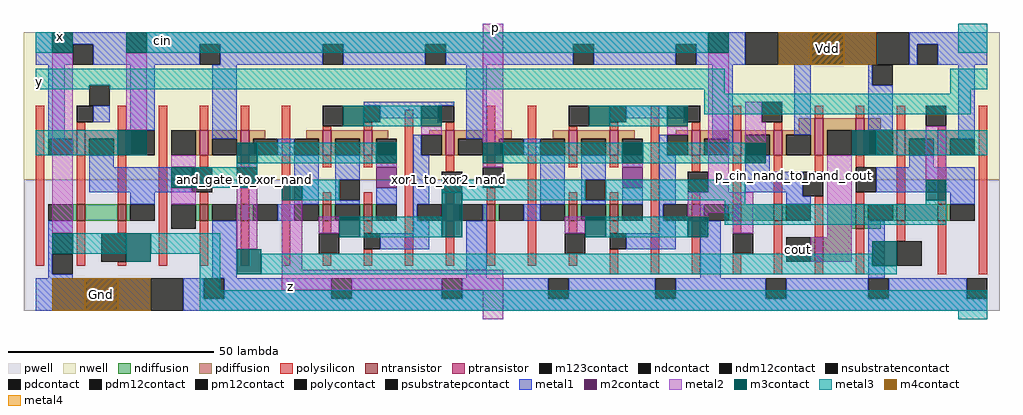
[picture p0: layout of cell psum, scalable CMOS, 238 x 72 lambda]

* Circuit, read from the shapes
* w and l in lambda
.subckt psum Gnd Vdd and_gate_to_xor_nand cin cout p p_cin_nand_to_nand_cout x xor1_to_xor2_nand y z
M1 n1 y Gnd Gnd nfet w=4 l=2
M2 n2 x n1 Gnd nfet w=4 l=2
M3 Gnd n2 and_gate_to_xor_nand Gnd nfet w=4 l=2
M4 n3 and_gate_to_xor_nand Gnd Gnd nfet w=4 l=2
M5 z xor1_to_xor2_nand n3 Gnd nfet w=4 l=2
M6 and_gate_to_xor_nand n4 z Gnd nfet w=4 l=2
M7 Gnd xor1_to_xor2_nand n4 Gnd nfet w=4 l=2
M8 n5 p Gnd Gnd nfet w=4 l=2
M9 xor1_to_xor2_nand cin n5 Gnd nfet w=4 l=2
M10 p n6 xor1_to_xor2_nand Gnd nfet w=4 l=2
M11 Gnd cin n6 Gnd nfet w=4 l=2
M12 n7 cin Gnd Gnd nfet w=4 l=2
M13 p_cin_nand_to_nand_cout p n7 Gnd nfet w=4 l=2
M14 n8 p_cin_nand_to_nand_cout cout Gnd nfet w=6 l=2
M15 Gnd n9 n8 Gnd nfet w=6 l=2
M16 n10 and_gate_to_xor_nand Gnd Gnd nfet w=4 l=2
M17 n9 xor1_to_xor2_nand n10 Gnd nfet w=4 l=2
M18 n2 y Vdd Vdd pfet w=6 l=2
M19 Vdd x n2 Vdd pfet w=6 l=2
M20 Vdd n2 and_gate_to_xor_nand Vdd pfet w=6 l=2
M21 n3 and_gate_to_xor_nand Vdd Vdd pfet w=6 l=2
M22 z n4 n3 Vdd pfet w=6 l=2
M23 and_gate_to_xor_nand xor1_to_xor2_nand z Vdd pfet w=6 l=2
M24 Vdd xor1_to_xor2_nand n4 Vdd pfet w=6 l=2
M25 n5 p Vdd Vdd pfet w=6 l=2
M26 xor1_to_xor2_nand n6 n5 Vdd pfet w=6 l=2
M27 p cin xor1_to_xor2_nand Vdd pfet w=6 l=2
M28 Vdd cin n6 Vdd pfet w=6 l=2
M29 p_cin_nand_to_nand_cout cin Vdd Vdd pfet w=6 l=2
M30 Vdd p p_cin_nand_to_nand_cout Vdd pfet w=6 l=2
M31 cout p_cin_nand_to_nand_cout Vdd Vdd pfet w=9 l=2
M32 Vdd n9 cout Vdd pfet w=9 l=2
M33 n9 and_gate_to_xor_nand Vdd Vdd pfet w=6 l=2
M34 Vdd xor1_to_xor2_nand n9 Vdd pfet w=6 l=2
.ends

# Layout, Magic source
magic
tech scmos
<< nwell >>
rect -43 36 195 72
<< pwell >>
rect -43 4 195 36
<< ntransistor >>
rect -30 26 -28 30
rect -20 26 -18 30
rect 0 26 2 30
rect 10 26 12 30
rect 30 26 32 30
rect 40 26 42 30
rect 60 26 62 30
rect 70 26 72 30
rect 90 26 92 30
rect 100 26 102 30
rect 120 26 122 30
rect 130 26 132 30
rect 140 26 142 30
rect 160 24 162 30
rect 170 26 172 30
rect 180 26 182 30
rect 150 16 152 22
<< ptransistor >>
rect -30 42 -28 48
rect -20 42 -18 48
rect 0 42 2 48
rect 10 42 12 48
rect 30 42 32 48
rect 40 42 42 48
rect 60 42 62 48
rect 70 42 72 48
rect 90 42 92 48
rect 100 42 102 48
rect 120 42 122 48
rect 130 42 132 48
rect 140 42 142 48
rect 150 42 152 51
rect 160 42 162 51
rect 170 42 172 48
rect 180 42 182 48
<< ndiffusion >>
rect -31 26 -30 30
rect -28 26 -20 30
rect -18 26 -17 30
rect -1 26 0 30
rect 2 26 3 30
rect 9 26 10 30
rect 12 26 13 30
rect 29 26 30 30
rect 32 26 33 30
rect 39 26 40 30
rect 42 26 43 30
rect 59 26 60 30
rect 62 26 63 30
rect 69 26 70 30
rect 72 26 73 30
rect 89 26 90 30
rect 92 26 93 30
rect 99 26 100 30
rect 102 26 103 30
rect 119 26 120 30
rect 122 26 123 30
rect 129 26 130 30
rect 132 26 140 30
rect 142 26 143 30
rect 153 24 160 30
rect 162 26 163 30
rect 169 26 170 30
rect 172 26 180 30
rect 182 26 183 30
rect 162 24 166 26
rect 153 22 159 24
rect 149 16 150 22
rect 152 16 159 22
<< pdiffusion >>
rect -37 46 -30 48
rect -31 42 -30 46
rect -28 46 -20 48
rect -28 42 -27 46
rect -21 42 -20 46
rect -18 42 -17 48
rect -1 42 0 48
rect 2 46 10 48
rect 2 42 3 46
rect 9 42 10 46
rect 12 46 16 48
rect 12 42 13 46
rect 26 46 30 48
rect 29 42 30 46
rect 32 46 40 48
rect 32 42 33 46
rect 39 42 40 46
rect 42 46 46 48
rect 42 42 43 46
rect 56 47 60 48
rect 59 42 60 47
rect 62 46 70 48
rect 62 42 63 46
rect 69 42 70 46
rect 72 46 76 48
rect 72 42 73 46
rect 86 46 90 48
rect 89 42 90 46
rect 92 46 100 48
rect 92 42 93 46
rect 99 42 100 46
rect 102 46 106 48
rect 102 42 103 46
rect 146 48 150 51
rect 116 47 120 48
rect 119 42 120 47
rect 122 46 130 48
rect 122 42 123 46
rect 129 42 130 46
rect 132 47 140 48
rect 132 42 133 47
rect 139 42 140 47
rect 142 47 150 48
rect 142 42 143 47
rect 149 42 150 47
rect 152 48 160 51
rect 152 42 153 48
rect 159 42 160 48
rect 162 48 166 51
rect 162 42 163 48
rect 169 42 170 48
rect 172 46 180 48
rect 172 42 173 46
rect 179 42 180 46
rect 182 46 189 48
rect 182 42 183 46
<< ndcontact >>
rect -37 26 -31 30
rect -17 26 -11 30
rect 3 26 9 30
rect 13 26 19 30
rect 23 26 29 30
rect 33 26 39 30
rect 43 26 48 30
rect 53 26 59 30
rect 63 26 69 30
rect 73 26 79 30
rect 83 26 89 30
rect 93 26 99 30
rect 103 26 108 30
rect 113 26 119 30
rect 123 26 129 30
rect 143 26 149 30
rect 163 26 169 30
rect 183 26 189 30
<< pdcontact >>
rect -37 42 -31 46
rect -27 42 -21 46
rect -17 42 -11 48
rect 3 42 9 46
rect 13 42 19 46
rect 23 42 29 46
rect 33 42 39 46
rect 43 42 48 46
rect 63 42 69 46
rect 73 42 79 46
rect 83 42 89 46
rect 93 42 99 46
rect 103 42 108 46
rect 123 42 129 46
rect 133 42 139 47
rect 143 42 149 47
rect 163 42 169 48
rect 173 42 179 46
rect 183 42 189 46
<< psubstratepcontact >>
rect -36 13 -31 18
rect 1 7 6 12
rect 32 7 37 12
rect 59 7 64 12
rect 85 7 90 12
rect 111 7 116 12
rect 138 7 143 12
rect 163 7 168 12
rect 187 7 192 12
<< nsubstratencontact >>
rect -31 64 -26 69
rect 0 64 5 69
rect 30 64 35 69
rect 55 64 60 69
rect 91 64 96 69
rect 116 64 121 69
rect 175 64 180 69
rect 164 59 169 64
<< polysilicon >>
rect -40 15 -38 54
rect -30 48 -28 50
rect -20 48 -18 54
rect -30 30 -28 42
rect -20 30 -18 42
rect -30 15 -28 26
rect -20 23 -18 26
rect -20 15 -18 16
rect -10 15 -8 54
rect 0 48 2 54
rect 10 48 12 54
rect 0 39 2 42
rect 10 39 12 42
rect 0 30 2 33
rect 10 30 12 34
rect 0 15 2 26
rect 10 15 12 26
rect 20 15 22 54
rect 30 48 32 49
rect 40 48 42 50
rect 30 39 32 42
rect 40 39 42 42
rect 30 30 32 33
rect 40 30 42 33
rect 30 23 32 26
rect 40 23 42 26
rect 30 15 32 18
rect 40 15 42 19
rect 50 15 52 53
rect 60 48 62 50
rect 70 48 72 54
rect 60 38 62 42
rect 70 39 72 42
rect 60 30 62 33
rect 70 30 72 34
rect 60 15 62 26
rect 70 15 72 26
rect 80 15 82 54
rect 90 48 92 49
rect 100 48 102 50
rect 90 39 92 42
rect 100 39 102 42
rect 90 30 92 33
rect 100 30 102 33
rect 90 23 92 26
rect 100 23 102 26
rect 90 15 92 18
rect 100 13 102 19
rect 110 13 112 54
rect 120 48 122 50
rect 130 48 132 54
rect 150 51 152 54
rect 160 51 162 54
rect 140 48 142 50
rect 170 48 172 54
rect 180 48 182 49
rect 120 38 122 42
rect 120 30 122 33
rect 130 30 132 42
rect 140 30 142 42
rect 150 38 152 42
rect 120 13 122 26
rect 130 23 132 26
rect 130 13 132 18
rect 140 13 142 26
rect 150 22 152 32
rect 160 39 162 42
rect 160 30 162 33
rect 170 30 172 42
rect 180 30 182 42
rect 150 13 152 16
rect 160 13 162 24
rect 170 21 172 26
rect 180 13 182 26
rect 190 13 192 54
<< polycontact >>
rect -30 50 -26 54
rect -2 33 3 39
rect 40 50 44 54
rect 40 19 44 23
rect 58 50 62 54
rect 100 50 104 54
rect 100 19 104 23
rect 118 50 122 54
rect 147 32 152 38
rect 160 33 165 39
<< metal1 >>
rect -40 69 133 72
rect -40 64 -31 69
rect -26 64 0 69
rect 5 64 30 69
rect 35 64 55 69
rect 60 64 91 69
rect 96 64 116 69
rect 121 64 133 69
rect 141 64 149 72
rect 157 64 165 72
rect 173 69 192 72
rect 173 64 175 69
rect 180 64 192 69
rect -37 46 -33 64
rect -26 50 -22 54
rect -17 48 -11 64
rect 3 46 9 64
rect 40 54 62 55
rect 44 51 58 54
rect 19 42 23 46
rect -27 39 -21 42
rect -27 33 -2 39
rect -17 30 -11 33
rect 23 30 29 42
rect -37 18 -31 26
rect 19 26 23 30
rect 33 36 39 42
rect 33 31 34 36
rect 33 30 39 31
rect 43 39 48 42
rect 43 30 48 34
rect 52 42 54 47
rect 65 46 70 64
rect 104 51 118 54
rect 69 42 70 46
rect 79 42 83 46
rect 52 30 56 42
rect 83 30 89 42
rect 52 26 53 30
rect 69 26 70 30
rect 79 26 83 30
rect 93 36 99 42
rect 93 31 94 36
rect 93 30 99 31
rect 103 39 108 42
rect 103 30 108 34
rect 112 42 114 47
rect 125 46 130 64
rect 145 47 149 64
rect 163 59 164 64
rect 163 48 169 59
rect 129 42 130 46
rect 185 46 189 64
rect 112 30 116 42
rect 133 38 139 42
rect 173 39 179 42
rect 133 33 147 38
rect 143 32 147 33
rect 165 33 189 39
rect 143 30 149 32
rect 183 30 189 33
rect 112 26 113 30
rect 122 26 123 30
rect -37 13 -36 18
rect -37 12 -31 13
rect 3 12 9 26
rect 52 23 56 26
rect 44 19 56 23
rect 65 12 70 26
rect 112 23 116 26
rect 104 19 116 23
rect 122 12 127 26
rect 163 12 167 26
rect -40 4 -28 12
rect -20 4 -12 12
rect -4 7 1 12
rect 6 7 32 12
rect 37 7 59 12
rect 64 7 85 12
rect 90 7 111 12
rect 116 7 138 12
rect 143 7 163 12
rect 168 7 187 12
rect -4 4 192 7
<< m2contact >>
rect 43 34 48 39
rect 103 34 108 39
<< pm12contact >>
rect 30 49 35 54
rect 9 34 14 39
rect 90 49 95 54
rect 59 33 64 38
rect 69 34 74 39
rect 137 50 142 55
rect 177 49 182 54
rect 119 33 124 38
rect -24 16 -18 23
rect 29 18 34 23
rect 89 18 94 23
rect 130 18 135 23
rect 170 15 176 21
<< pdm12contact >>
rect -7 42 -1 48
rect 54 42 59 47
rect 114 42 119 47
rect 153 42 159 48
<< ndm12contact >>
rect -7 24 -1 30
rect 143 16 149 22
<< metal2 >>
rect -36 23 -31 67
rect -18 48 -13 67
rect 54 47 59 49
rect -7 39 -1 42
rect -7 30 -1 34
rect 9 39 14 40
rect 69 45 74 74
rect 114 47 119 49
rect 43 39 48 40
rect 9 19 14 34
rect 69 39 74 40
rect 103 39 108 40
rect 20 14 25 31
rect 29 23 34 27
rect 124 33 129 67
rect 133 50 137 55
rect 133 45 138 50
rect 119 28 135 33
rect 119 27 124 28
rect 89 23 94 27
rect 130 23 135 28
rect 153 22 159 42
rect 177 36 182 49
rect 149 16 159 22
rect 20 9 74 14
rect 69 2 74 9
<< m3contact >>
rect -36 67 -31 72
rect -18 67 -13 72
rect 35 49 40 54
rect 54 49 59 54
rect -20 42 -13 48
rect -7 34 -1 39
rect 9 40 14 45
rect 43 40 48 45
rect 124 67 129 72
rect 95 49 100 54
rect 114 49 119 54
rect -36 18 -31 23
rect -18 16 -12 23
rect 20 31 25 36
rect 69 40 74 45
rect 103 40 108 45
rect 9 13 15 19
rect 34 22 39 27
rect 59 22 64 33
rect 133 40 138 45
rect 159 42 165 48
rect 94 22 99 27
rect 119 22 124 27
rect 177 31 182 36
rect 164 15 170 21
<< m123contact >>
rect -27 54 -22 59
rect 34 31 39 36
rect 94 31 99 36
rect 133 64 141 72
rect 149 64 157 72
rect 165 64 173 72
rect -28 4 -20 12
rect -12 4 -4 12
<< metal3 >>
rect -40 67 -36 72
rect -13 67 124 72
rect 185 67 192 74
rect -40 59 128 63
rect -40 58 -27 59
rect -22 58 128 59
rect 123 57 128 58
rect 183 58 192 63
rect 183 57 188 58
rect 40 49 54 54
rect 100 49 114 54
rect 123 52 188 57
rect -40 42 -20 48
rect 14 40 43 45
rect 74 40 103 45
rect 108 40 133 45
rect 165 42 192 48
rect 9 39 14 40
rect -1 34 14 39
rect 25 31 34 36
rect 59 33 94 36
rect -31 18 -18 23
rect -12 18 5 23
rect 39 22 59 27
rect 64 31 94 33
rect 99 31 133 36
rect 128 30 133 31
rect 177 30 182 31
rect 99 22 119 27
rect 128 25 182 30
rect 0 9 5 18
rect 15 15 164 18
rect 15 13 170 15
rect 0 4 192 9
rect 185 2 192 4
<< m4contact >>
rect 141 64 149 72
rect 157 64 165 72
rect -36 4 -28 12
rect -20 4 -12 12
<< metal4 >>
rect 149 64 157 72
rect -28 4 -20 12
<< labels >>
rlabel metal2 72 73 72 73 5 p
rlabel metal2 22 10 22 10 1 z
rlabel ndm12contact 146 19 146 19 1 cout
rlabel metal3 11 36 11 36 1 and_gate_to_xor_nand
rlabel metal3 61 36 61 36 1 xor1_to_xor2_nand
rlabel metal1 145 37 145 37 1 p_cin_nand_to_nand_cout
rlabel metal3 -39 60 -39 60 3 y
rlabel metal3 -9 70 -9 70 5 cin
rlabel metal4 153 68 153 68 1 Vdd
rlabel metal4 -24 8 -24 8 1 Gnd
rlabel m3contact -34 71 -34 71 4 x
<< end >>
